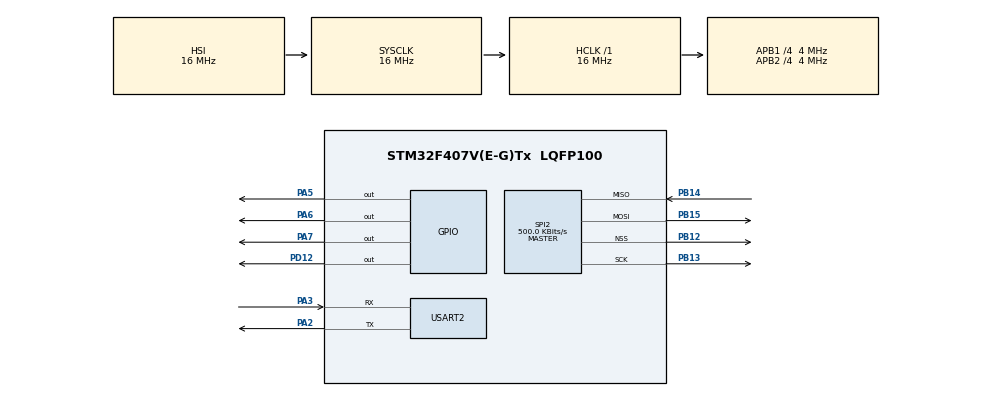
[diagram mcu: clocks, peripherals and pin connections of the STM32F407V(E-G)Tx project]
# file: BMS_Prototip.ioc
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Mcu.Family=STM32F4
Mcu.Name=STM32F407V(E-G)Tx
Mcu.Package=LQFP100
NVIC.PriorityGroup=NVIC_PRIORITYGROUP_0
NVIC.TIM2_IRQn=true\:0\:0\:false\:false\:true\:true\:true
PA13.Mode=Serial_Wire
PA13.Signal=SYS_JTMS-SWDIO
PA14.Mode=Serial_Wire
PA14.Signal=SYS_JTCK-SWCLK
PA2.Mode=Asynchronous
PA2.Signal=USART2_TX
PA3.Mode=Asynchronous
PA3.Signal=USART2_RX
PA5.Signal=GPIO_Output
PA6.Signal=GPIO_Output
PA7.Signal=GPIO_Output
PB12.Mode=NSS_Signal_Hard_Output
PB12.Signal=SPI2_NSS
PB13.Mode=Full_Duplex_Master
PB13.Signal=SPI2_SCK
PB14.Mode=Full_Duplex_Master
PB14.Signal=SPI2_MISO
PB15.Mode=Full_Duplex_Master
PB15.Signal=SPI2_MOSI
PD12.Signal=GPIO_Output
ProjectManager.HeapSize=0x200
ProjectManager.StackSize=0x400
ProjectManager.TargetToolchain=STM32CubeIDE
RCC.48MHZClocksFreq_Value=14285714.285714285
RCC.AHBFreq_Value=16000000
RCC.APB1CLKDivider=RCC_HCLK_DIV4
RCC.APB1Freq_Value=4000000
RCC.APB1TimFreq_Value=8000000
RCC.APB2CLKDivider=RCC_HCLK_DIV4
RCC.APB2Freq_Value=4000000
RCC.APB2TimFreq_Value=8000000
RCC.CortexFreq_Value=16000000
RCC.HCLKFreq_Value=16000000
RCC.HSE_VALUE=8000000
RCC.HSI_VALUE=16000000
RCC.LSE_VALUE=32768
RCC.PLLM=8
RCC.PLLN=50
RCC.PLLQ=7
RCC.SYSCLKFreq_VALUE=16000000
RCC.VCOOutputFreq_Value=100000000
SPI2.BaudRatePrescaler=SPI_BAUDRATEPRESCALER_8
SPI2.CalculateBaudRate=500.0 KBits/s
SPI2.DataSize=SPI_DATASIZE_16BIT
SPI2.Direction=SPI_DIRECTION_2LINES
SPI2.Mode=SPI_MODE_MASTER
SPI2.VirtualNSS=VM_NSSHARD
SPI2.VirtualType=VM_MASTER
TIM2.Period=64000
TIM2.Prescaler=249
TIM2.TIM_MasterOutputTrigger=TIM_TRGO_UPDATE
USART2.VirtualMode=VM_ASYNC
VP_TIM2_VS_ClockSourceINT.Mode=Internal
board=STM32F407G-DISC1

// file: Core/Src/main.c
/* USER CODE BEGIN Header */
/**
  ******************************************************************************
  * @file           : main.c
  * @brief          : Main program body
  ******************************************************************************
  * @attention
  *
  * <h2><center>&copy; Copyright (c) 2020 STMicroelectronics.
  * All rights reserved.</center></h2>
  *
  * This software component is licensed by ST under Ultimate Liberty license
  * SLA0044, the "License"; You may not use this file except in compliance with
  * the License. You may obtain a copy of the License at:
  *                             www.st.com/SLA0044
  *
  ******************************************************************************
  */
/* USER CODE END Header */

#include "main.h"

SPI_HandleTypeDef hspi2;

TIM_HandleTypeDef htim2;

UART_HandleTypeDef huart2;

/* USER CODE BEGIN PV */
uint8_t Tim_Int =RESET;
uint16_t ADC_Value[6];
/* USER CODE END PV */

void SystemClock_Config(void);
static void MX_GPIO_Init(void);
static void MX_SPI2_Init(void);
static void MX_TIM2_Init(void);
static void MX_USART2_UART_Init(void);
/* USER CODE BEGIN PFP */
void Recive_ADC_Value(uint8_t SlvNo);
void Send_Cell_Voltage(uint16_t ADC_Value[], uint8_t SlvNo);
char *	gcvtf (float,int,char *);
/* USER CODE END PFP */

int main(void)
{

  /* MCU Configuration--------------------------------------------------------*/

  /* Reset of all peripherals, Initializes the Flash interface and the Systick. */
  HAL_Init();

  /* Configure the system clock */
  SystemClock_Config();

  /* Initialize all configured peripherals */
  MX_GPIO_Init();
  MX_SPI2_Init();
  MX_TIM2_Init();
  MX_USART2_UART_Init();
  /* USER CODE BEGIN 2 */
  HAL_TIM_Base_Start_IT(&htim2);
  /* USER CODE END 2 */

  /* Infinite loop */
  while (1)
  {
	  //Wait Until Timer Interrupt
	  while(!Tim_Int);

	  Recive_ADC_Value(Slave_No_1);

	  Tim_Int = RESET;
  }
}

void SystemClock_Config(void)
{
  RCC_OscInitTypeDef RCC_OscInitStruct = {0};
  RCC_ClkInitTypeDef RCC_ClkInitStruct = {0};

  /** Configure the main internal regulator output voltage
  */
  __HAL_RCC_PWR_CLK_ENABLE();
  __HAL_PWR_VOLTAGESCALING_CONFIG(PWR_REGULATOR_VOLTAGE_SCALE1);
  /** Initializes the CPU, AHB and APB busses clocks
  */
  RCC_OscInitStruct.OscillatorType = RCC_OSCILLATORTYPE_HSI;
  RCC_OscInitStruct.HSIState = RCC_HSI_ON;
  RCC_OscInitStruct.HSICalibrationValue = RCC_HSICALIBRATION_DEFAULT;
  RCC_OscInitStruct.PLL.PLLState = RCC_PLL_NONE;
  if (HAL_RCC_OscConfig(&RCC_OscInitStruct) != HAL_OK)
  {
    Error_Handler();
  }
  /** Initializes the CPU, AHB and APB busses clocks
  */
  RCC_ClkInitStruct.ClockType = RCC_CLOCKTYPE_HCLK|RCC_CLOCKTYPE_SYSCLK
                              |RCC_CLOCKTYPE_PCLK1|RCC_CLOCKTYPE_PCLK2;
  RCC_ClkInitStruct.SYSCLKSource = RCC_SYSCLKSOURCE_HSI;
  RCC_ClkInitStruct.AHBCLKDivider = RCC_SYSCLK_DIV1;
  RCC_ClkInitStruct.APB1CLKDivider = RCC_HCLK_DIV4;
  RCC_ClkInitStruct.APB2CLKDivider = RCC_HCLK_DIV4;

  if (HAL_RCC_ClockConfig(&RCC_ClkInitStruct, FLASH_LATENCY_0) != HAL_OK)
  {
    Error_Handler();
  }
}

static void MX_SPI2_Init(void)
{

  /* SPI2 parameter configuration*/
  hspi2.Instance = SPI2;
  hspi2.Init.Mode = SPI_MODE_MASTER;
  hspi2.Init.Direction = SPI_DIRECTION_2LINES;
  hspi2.Init.DataSize = SPI_DATASIZE_16BIT;
  hspi2.Init.CLKPolarity = SPI_POLARITY_LOW;
  hspi2.Init.CLKPhase = SPI_PHASE_1EDGE;
  hspi2.Init.NSS = SPI_NSS_SOFT;
  hspi2.Init.BaudRatePrescaler = SPI_BAUDRATEPRESCALER_8;
  hspi2.Init.FirstBit = SPI_FIRSTBIT_MSB;
  hspi2.Init.TIMode = SPI_TIMODE_DISABLE;
  hspi2.Init.CRCCalculation = SPI_CRCCALCULATION_DISABLE;
  hspi2.Init.CRCPolynomial = 10;
  if (HAL_SPI_Init(&hspi2) != HAL_OK)
  {
    Error_Handler();
  }

}

static void MX_TIM2_Init(void)
{

  TIM_ClockConfigTypeDef sClockSourceConfig = {0};
  TIM_MasterConfigTypeDef sMasterConfig = {0};

  htim2.Instance = TIM2;
  htim2.Init.Prescaler = 249;
  htim2.Init.CounterMode = TIM_COUNTERMODE_UP;
  htim2.Init.Period = 32000;
  htim2.Init.ClockDivision = TIM_CLOCKDIVISION_DIV1;
  htim2.Init.AutoReloadPreload = TIM_AUTORELOAD_PRELOAD_DISABLE;
  if (HAL_TIM_Base_Init(&htim2) != HAL_OK)
  {
    Error_Handler();
  }
  sClockSourceConfig.ClockSource = TIM_CLOCKSOURCE_INTERNAL;
  if (HAL_TIM_ConfigClockSource(&htim2, &sClockSourceConfig) != HAL_OK)
  {
    Error_Handler();
  }
  sMasterConfig.MasterOutputTrigger = TIM_TRGO_UPDATE;
  sMasterConfig.MasterSlaveMode = TIM_MASTERSLAVEMODE_DISABLE;
  if (HAL_TIMEx_MasterConfigSynchronization(&htim2, &sMasterConfig) != HAL_OK)
  {
    Error_Handler();
  }

}

static void MX_USART2_UART_Init(void)
{

  huart2.Instance = USART2;
  huart2.Init.BaudRate = 115200;
  huart2.Init.WordLength = UART_WORDLENGTH_8B;
  huart2.Init.StopBits = UART_STOPBITS_1;
  huart2.Init.Parity = UART_PARITY_NONE;
  huart2.Init.Mode = UART_MODE_TX_RX;
  huart2.Init.HwFlowCtl = UART_HWCONTROL_NONE;
  huart2.Init.OverSampling = UART_OVERSAMPLING_16;
  if (HAL_UART_Init(&huart2) != HAL_OK)
  {
    Error_Handler();
  }

}

static void MX_GPIO_Init(void)
{
  GPIO_InitTypeDef GPIO_InitStruct = {0};

  /* GPIO Ports Clock Enable */
  __HAL_RCC_GPIOA_CLK_ENABLE();
  __HAL_RCC_GPIOB_CLK_ENABLE();
  __HAL_RCC_GPIOD_CLK_ENABLE();

  /*Configure GPIO pin Output Level */
  HAL_GPIO_WritePin(GPIOA, GPIO_PIN_5|GPIO_PIN_6|GPIO_PIN_7, GPIO_PIN_RESET);

  /*Configure GPIO pin Output Level */
  HAL_GPIO_WritePin(GPIOD, GPIO_PIN_12, GPIO_PIN_RESET);

  /*Configure GPIO pins : PA5 PA6 PA7 */
  GPIO_InitStruct.Pin = GPIO_PIN_5|GPIO_PIN_6|GPIO_PIN_7;
  GPIO_InitStruct.Mode = GPIO_MODE_OUTPUT_PP;
  GPIO_InitStruct.Pull = GPIO_NOPULL;
  GPIO_InitStruct.Speed = GPIO_SPEED_FREQ_LOW;
  HAL_GPIO_Init(GPIOA, &GPIO_InitStruct);

  /*Configure GPIO pin : PD12 */
  GPIO_InitStruct.Pin = GPIO_PIN_12;
  GPIO_InitStruct.Mode = GPIO_MODE_OUTPUT_PP;
  GPIO_InitStruct.Pull = GPIO_NOPULL;
  GPIO_InitStruct.Speed = GPIO_SPEED_FREQ_LOW;
  HAL_GPIO_Init(GPIOD, &GPIO_InitStruct);

  HAL_GPIO_WritePin(GPIOA, GPIO_PIN_5, GPIO_PIN_SET);

}

/* USER CODE BEGIN 4 */

/**
  * @brief  Period elapsed callback in non-blocking mode
  * @param  htim TIM handle
  * @retval None
  */
void HAL_TIM_PeriodElapsedCallback(TIM_HandleTypeDef *htim)
{

	HAL_GPIO_TogglePin(GPIOD, GPIO_PIN_12);
	Tim_Int = SET;
}

void Recive_ADC_Value(uint8_t SlvNo)
{
	if(SlvNo == 1)
	{
		  //Reset Slave Select for Slave1
		  HAL_GPIO_WritePin(GPIOA, GPIO_PIN_5, GPIO_PIN_RESET);

		  //Start SPI Communication
		  if(HAL_SPI_Receive(&hspi2, (uint8_t*)ADC_Value , 6, HAL_MAX_DELAY) != HAL_OK)
		  {
			  Error_Handler();
		  }

		  //Set Slave Select for Slave1
		  HAL_GPIO_WritePin(GPIOA, GPIO_PIN_5, GPIO_PIN_SET);
	}
	else if(SlvNo == 2)
	{
		  //Reset Slave Select for Slave1
		  HAL_GPIO_WritePin(GPIOA, GPIO_PIN_6, GPIO_PIN_RESET);

		  //Start SPI Communication
		  if(HAL_SPI_Receive(&hspi2, (uint8_t*)ADC_Value , 6, HAL_MAX_DELAY) != HAL_OK)
		  {
			  Error_Handler();
		  }

		  //Set Slave Select for Slave1
		  HAL_GPIO_WritePin(GPIOA, GPIO_PIN_6, GPIO_PIN_SET);
	}
	else if(SlvNo == 3)
	{
		  //Reset Slave Select for Slave1
		  HAL_GPIO_WritePin(GPIOA, GPIO_PIN_7, GPIO_PIN_RESET);

		  //Start SPI Communication
		  if(HAL_SPI_Receive(&hspi2, (uint8_t*)ADC_Value , 6, HAL_MAX_DELAY) != HAL_OK)
		  {
			  Error_Handler();
		  }

		  //Set Slave Select for Slave1
		  HAL_GPIO_WritePin(GPIOA, GPIO_PIN_7, GPIO_PIN_SET);
	}

	  Send_Cell_Voltage(ADC_Value, SlvNo);
}

void Send_Cell_Voltage(uint16_t ADC_Value[], uint8_t SlvNo)
{
	float Voltage[6];
	int counter =0;
	char UART_Data[100] ={0};
	if(SlvNo == 1)
	{
		UART_Data[counter] = '1';
		counter++;
		UART_Data[counter] = '0';
		counter++;
		UART_Data[counter] = '1';
		counter++;
		UART_Data[counter] = '[';
		counter++;

	}
	if(SlvNo == 2)
	{
		UART_Data[counter] = '1';
		counter++;
		UART_Data[counter] = '0';
		counter++;
		UART_Data[counter] = '2';
		counter++;
		UART_Data[counter] = '[';
		counter++;
	}
	if(SlvNo == 3)
	{
		UART_Data[counter] = '1';
		counter++;
		UART_Data[counter] = '0';
		counter++;
		UART_Data[counter] = '3';
		counter++;
		UART_Data[counter] = '[';
		counter++;
	}

	for(int i=0; i<6; i++)
	{
		Voltage[i] = (5.00/1024.00)*(float)ADC_Value[i] + 0.10;
	}

	  for(int i=0; i<6; i++)
	  {
		  char buf[5];
		  gcvtf(Voltage[i],4,buf);
		  for(int k=0; k<5;k++)
		  {
			  UART_Data[counter] = buf[k];
			  counter++;
		  }
		  if(i == 5)
		  {
			  UART_Data[counter] = ']';
			  counter++;
			  UART_Data[counter] = '\n';
		  }
		  else
		  {
			  UART_Data[counter] = ',';
			  counter ++;
		  }
	  }

	  if(HAL_UART_Transmit(&huart2, (uint8_t*)UART_Data, strlen(UART_Data), HAL_MAX_DELAY)!= HAL_OK)
	  {
		  Error_Handler();
	  }
}
/* USER CODE END 4 */

void Error_Handler(void)
{
}

/************************ (C) COPYRIGHT STMicroelectronics *****END OF FILE****/
